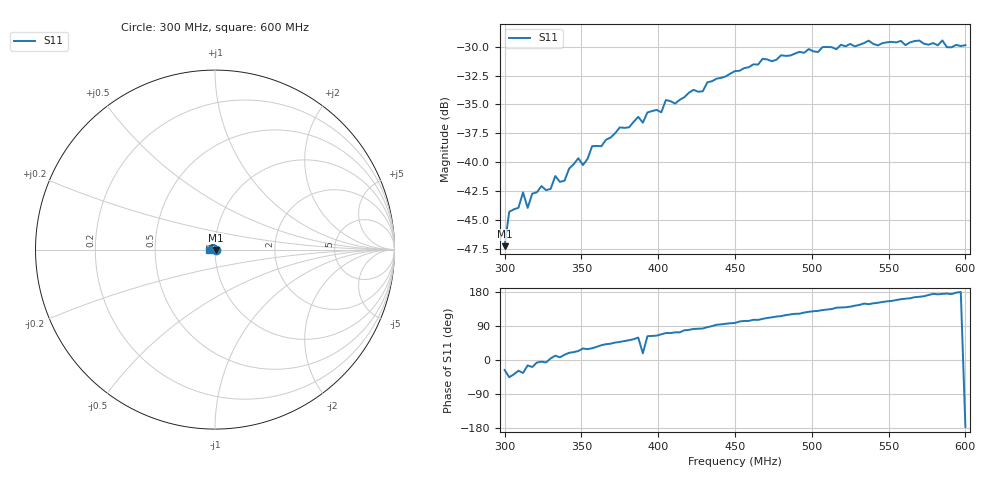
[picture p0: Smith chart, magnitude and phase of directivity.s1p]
! Created with skrf 1.8.0 (http://scikit-rf.org).
# Hz S RI R 50.0
!freq ReS11 ImS11
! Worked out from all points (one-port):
!   101 points, 300 MHz to 600 MHz, reference 50 ohm
!   lowest |S11| = -47.3 dB at 300 MHz (marker M1), VSWR 1.01, Z = 50.4 - j0.194 ohm
!   |S11| at or under -10 dB: start of sweep to end of sweep
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3e8  0.00387 -0.00192
3.03e8  0.00427 -0.00434
3.09e8  0.00558 -0.00302
3.12e8  0.00612 -0.00416
3.15e8  0.00614 -0.00157
3.18e8  0.00693 -0.00231
3.24e8  0.00785 -0.00061
3.3e8  0.00764 0.000566
3.33e8  0.00853 0.00173
3.39e8  0.00807 0.002
3.42e8  0.00887 0.00304
3.48e8  0.00953 0.00417
3.51e8  0.00837 0.00492
3.57e8  0.0101 0.00605
3.63e8  0.00912 0.00737
3.75e8  0.00953 0.0105
3.81e8  0.0087 0.0112
3.87e8  0.00803 0.0135
3.9e8  0.0141 0.00452
3.93e8  0.00751 0.0146
4.02e8  0.00624 0.0152
4.05e8  0.00599 0.0176
4.14e8  0.00545 0.0178
4.5e8  -0.00337 0.0246
4.89e8  -0.0156 0.0251
5.25e8  -0.0252 0.0206
5.64e8  -0.0316 0.00977
6e8  -0.0321 -0.00192
